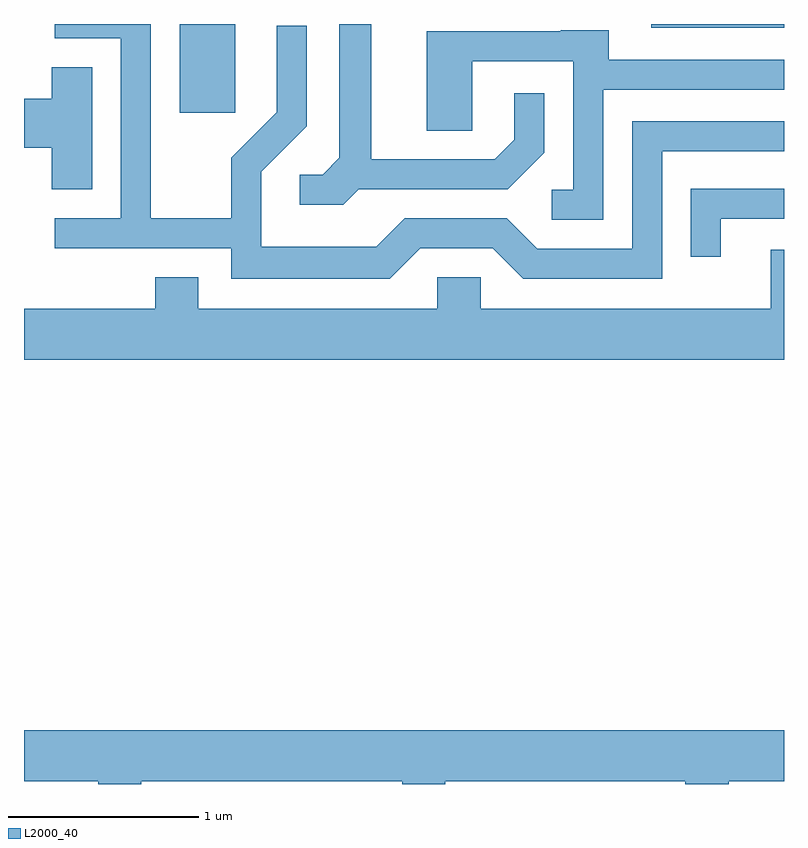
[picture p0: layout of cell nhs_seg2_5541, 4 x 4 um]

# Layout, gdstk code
import gdstk
lib = gdstk.Library(unit=1e-6, precision=1e-09)
def R(c, l, rs):  # rectangles x0, y0, x1, y1
    for r in rs: c.add(gdstk.rectangle(r[:2], r[2:], *l))
def P(c, l, *ps):  # polygons
    for p in ps: c.add(gdstk.Polygon(p, *l))
L2000_40 = (2000, 40)

nhs_seg2_5541 = lib.new_cell('nhs_seg2_5541')
R(nhs_seg2_5541, L2000_40, [(348.431,1107.336,348.724,1107.802), (350.911,1107.781,351.611,1107.802)])
P(nhs_seg2_5541, L2000_40, [(349.697,1106.621),(350.079,1106.621),(350.239,1106.461),(350.969,1106.461),(350.969,1107.131),(351.611,1107.131),(351.611,1107.289),(350.811,1107.289),(350.811,1106.619),(350.312,1106.619),(350.152,1106.779),(349.614,1106.779),(349.464,1106.629),(348.859,1106.629),(348.859,1107.024),(349.099,1107.264),(349.099,1107.793),(348.941,1107.793),(348.941,1107.337),(348.701,1107.097),(348.701,1106.779),(348.279,1106.779),(348.279,1107.802),(347.773,1107.802),(347.773,1107.726),(348.121,1107.726),(348.121,1106.779),(347.773,1106.779),(347.773,1106.621),(348.701,1106.621),(348.701,1106.461),(349.537,1106.461)],
  [(349.372,1106.931),(350.157,1106.931),(350.349,1107.124),(350.349,1107.438),(350.191,1107.438),(350.191,1107.192),(350.089,1107.089),(349.439,1107.089),(349.439,1107.802),(349.271,1107.802),(349.271,1107.097),(349.184,1107.009),(349.063,1107.009),(349.063,1106.851),(349.292,1106.851)],
  [(350.659,1107.456),(351.611,1107.456),(351.611,1107.614),(350.689,1107.614),(350.689,1107.769),(350.435,1107.769),(350.435,1107.764),(349.731,1107.764),(349.731,1107.241),(349.969,1107.241),(349.969,1107.606),(350.501,1107.606),(350.501,1106.929),(350.388,1106.929),(350.388,1106.771),(350.659,1106.771)],
  [(347.969,1107.574),(347.756,1107.574),(347.756,1107.409),(347.611,1107.409),(347.611,1107.151),(347.756,1107.151),(347.756,1106.931),(347.969,1106.931)],
  [(351.279,1106.776),(351.611,1106.776),(351.611,1106.934),(351.121,1106.934),(351.121,1106.578),(351.279,1106.578)],
  [(351.611,1106.614),(351.541,1106.614),(351.541,1106.304),(350.014,1106.304),(350.014,1106.469),(349.786,1106.469),(349.786,1106.304),(348.529,1106.304),(348.529,1106.469),(348.301,1106.469),(348.301,1106.304),(347.611,1106.304),(347.611,1106.036),(351.611,1106.036)],
  [(348.229,1103.816),(349.601,1103.816),(349.601,1103.802),(349.829,1103.802),(349.829,1103.816),(351.091,1103.816),(351.091,1103.802),(351.319,1103.802),(351.319,1103.816),(351.611,1103.816),(351.611,1104.084),(347.611,1104.084),(347.611,1103.816),(348.001,1103.816),(348.001,1103.802),(348.229,1103.802)])

lib.write_gds('nhs_seg2_5541.gds')
